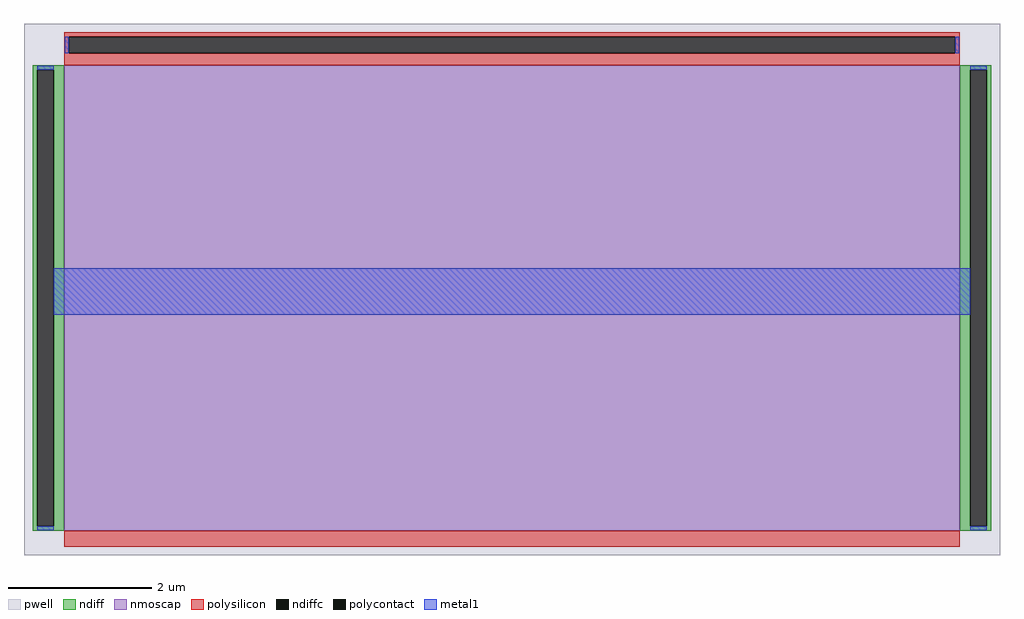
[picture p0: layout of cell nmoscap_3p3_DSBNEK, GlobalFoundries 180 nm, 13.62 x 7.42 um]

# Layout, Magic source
magic
tech gf180mcuD
magscale 1 10
<< pwell >>
rect -1362 -742 1362 742
<< ndiff >>
rect -1338 613 -1250 626
rect -1338 -661 -1325 613
rect -1279 -661 -1250 613
rect -1338 -674 -1250 -661
rect 1250 613 1338 626
rect 1250 -661 1279 613
rect 1325 -661 1338 613
rect 1250 -674 1338 -661
<< ndiffc >>
rect -1325 -661 -1279 613
rect 1279 -661 1325 613
<< nmoscap >>
rect -1250 -674 1250 626
<< polysilicon >>
rect -1250 705 1250 718
rect -1250 659 -1237 705
rect 1237 659 1250 705
rect -1250 626 1250 659
rect -1250 -718 1250 -674
<< polycontact >>
rect -1237 659 1237 705
<< metal1 >>
rect -1248 659 -1237 705
rect 1237 659 1248 705
rect -1325 613 -1279 624
rect 1279 613 1325 624
rect -1279 -70 1279 60
rect -1325 -672 -1279 -661
rect 1279 -672 1325 -661
<< properties >>
string gencell nmoscap_3p3
string library gf180mcu
string parameters w 6.5 l 12.5 m 1 nf 1 diffcov 100 polycov 100 guard 0 glc 0 grc 0 gtc 0 gbc 0 tbcov 100 rlcov 100 topc 1 botc 0 poverlap 0 doverlap 1 lmin 0.28 wmin 0.22 class mosfet full_metal 0 compatible {nmoscap_3p3 nmoscap_6p0}
<< end >>
